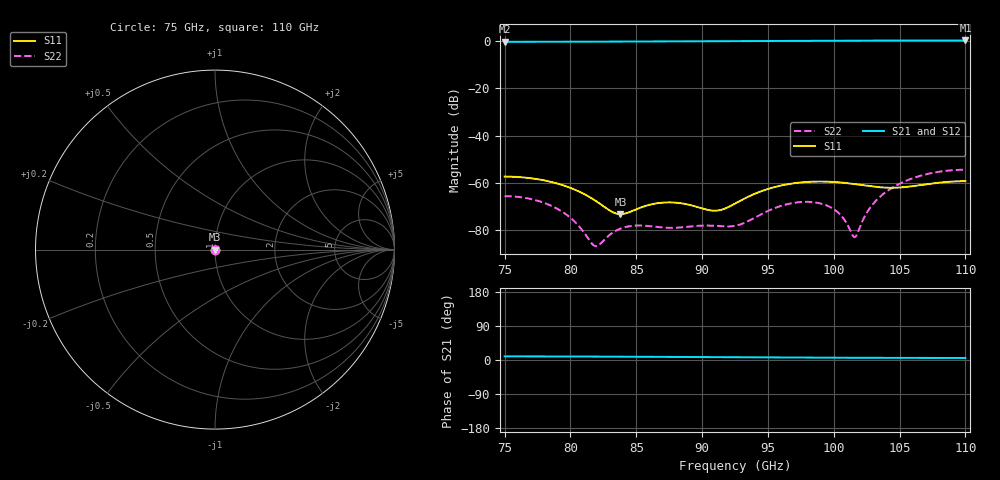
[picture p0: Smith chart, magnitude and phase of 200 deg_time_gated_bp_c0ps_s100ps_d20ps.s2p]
# Hz S RI R 50.000000
! Metas.Vna.Tools, 2.4.7724.19584
! Metas.Vna.Data, 2.4.7724.19560
! Created: UTC 2021.04.29 12:40:11
! FREQ  re:S1,1  im:S1,1  re:S2,1  im:S2,1  re:S1,2  im:S1,2  re:S2,2  im:S2,2
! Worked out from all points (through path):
!   1401 points, 75 GHz to 110 GHz, reference 50 ohm
!   highest |S21| = 0.15 dB at 110 GHz (marker M1); lowest = -0.4 dB at 75 GHz (marker M2)
!   group delay of S21, straight-line fit = 401 fs
!   lowest |S11| = -73.2 dB at 83.8 GHz (marker M3), VSWR 1.00, Z = 50 + j0.00996 ohm
!   |S11| at or under -10 dB: start of sweep to end of sweep
!   |S22| runs from -86.7 to -54.5 dB; largest |S21 - S12| = 0.014
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7.5e10  -0.000532 -0.00125  0.9396 0.1584  0.9414 0.1538  -0.000459 0.000254
7.675e10  -0.000522 -0.00117  0.9401 0.1579  0.942 0.1533  -0.000414 0.000225
7.8375e10  -0.000492 -0.000954  0.9414 0.1566  0.9434 0.1521  -0.000307 0.000156
7.9725e10  -0.000448 -0.000707  0.9431 0.155  0.9451 0.1506  -0.000194 8.18e-05
8.085e10  -0.000396 -0.000474  0.945 0.1532  0.9471 0.149  -0.000102 1.85e-05
8.3125e10  -0.000247 -1.5e-05  0.9497 0.1487  0.952 0.1447  2.5e-05 -8.18e-05
8.38e10  -0.000194 9.97e-05  0.9514 0.1471  0.9537 0.1432  4.09e-05 -0.0001
8.5e10  -9.18e-05 0.000261  0.9545 0.1442  0.9569 0.1403  4.31e-05 -0.000118
8.6675e10  5.14e-05 0.00037  0.9593 0.1398  0.9618 0.1359  3.27e-06 -0.000116
8.8325e10  0.000171 0.000331  0.9644 0.1352  0.967 0.1311  -5.29e-05 -0.000101
9.095e10  0.000258 3.08e-06  0.9729 0.1276  0.9757 0.123  -7.75e-05 -9.66e-05
9.25e10  0.000228 -0.000285  0.978 0.1232  0.9808 0.118  -1.92e-05 -0.000122
9.6025e10  -5.45e-05 -0.00088  0.9891 0.1138  0.992 0.1069  0.000246 -0.000217
9.835e10  -0.000324 -0.00101  0.9958 0.1085  0.9987 0.1001  0.000334 -0.000206
9.995e10  -0.000498 -0.00092  0.9999 0.1053  1.003 0.0958  0.00026 -0.000116
1.006e11  -0.00056 -0.000844  1.001 0.1041  1.004 0.0942  0.00019 -5.62e-05
1.01275e11  -0.000618 -0.000743  1.003 0.103  1.006 0.0927  9.41e-05 1.88e-05
1.01725e11  -0.000652 -0.000665  1.004 0.1023  1.007 0.0917  1.72e-05 7.59e-05
1.02925e11  -0.000725 -0.000423  1.006 0.1005  1.009 0.0892  -0.000232 0.000251
1.04175e11  -0.000776 -0.000141  1.008 0.099  1.011 0.087  -0.000537 0.000457
1.06775e11  -0.000815 0.00041  1.011 0.0968  1.014 0.0837  -0.00117 0.000868
1.1e11  -0.000815 0.000715  1.013 0.0958  1.015 0.0822  -0.00154 0.0011
